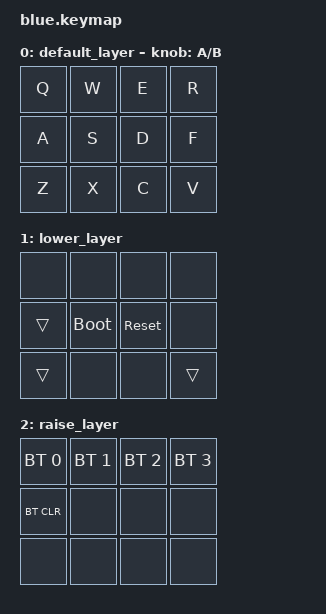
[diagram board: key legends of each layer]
/*
 * Copyright (c) 2020 The ZMK Contributors
 *
 * SPDX-License-Identifier: MIT
 */

#include <behaviors.dtsi>
#include <dt-bindings/zmk/keys.h>
#include <dt-bindings/zmk/bt.h>

#define DEFAULT 0
#define LOWER   1
#define RAISE   2


/ {
    behaviors {
        left_encoder: sensor_rotate_kp {
            compatible = "zmk,behavior-sensor-rotate-var";
            #sensor-binding-cells = <2>;
            bindings = <&kp>, <&kp>;
        };
    };


        keymap {
                compatible = "zmk,keymap";

                default_layer {
                        bindings = <
                                &kp  Q        &kp  W        &kp  E        &kp  R 
                                &kp  A        &kp  S        &kp  D        &kp  F 
                                &kp  Z        &kp  X        &kp  C        &kp  V
                        >;

                        sensor-bindings = <&left_encoder A B>;
                };
                lower_layer {

                        bindings = <
                                &none         &none         &none         &none   
                                &trans        &bootloader   &sys_reset    &none  
                                &trans        &none         &none         &trans  
                        >;
                };
                raise_layer {
                        bindings = <
                                &bt BT_SEL 0  &bt BT_SEL 1  &bt BT_SEL 2  &bt BT_SEL 3  
                                &bt BT_CLR        &none         &none         &none      
                                &none         &none         &none         &none 
                        >;
                };
        };
};

